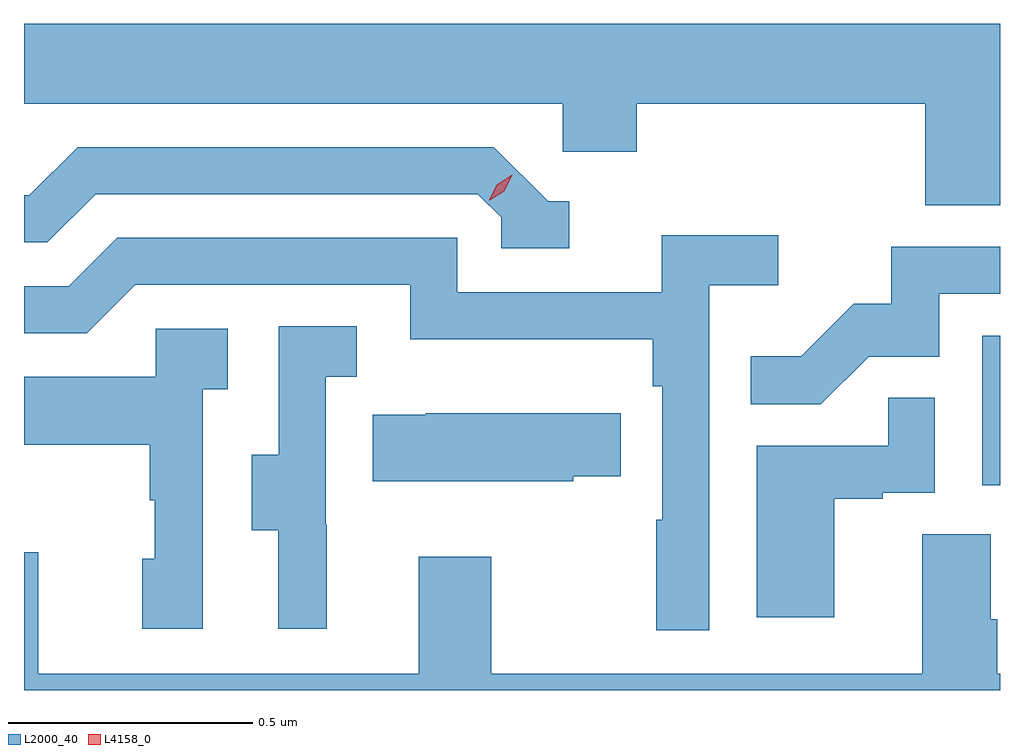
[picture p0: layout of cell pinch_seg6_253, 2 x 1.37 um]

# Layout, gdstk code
import gdstk
lib = gdstk.Library(unit=1e-6, precision=1e-09)
def R(c, l, rs):  # rectangles x0, y0, x1, y1
    for r in rs: c.add(gdstk.rectangle(r[:2], r[2:], *l))
def P(c, l, *ps):  # polygons
    for p in ps: c.add(gdstk.Polygon(p, *l))
L2000_40 = (2000, 40)
L4158_0 = (4158, 0)

pinch_seg6_253 = lib.new_cell('pinch_seg6_253')
R(pinch_seg6_253, L2000_40, [(1135.502,918.582,1135.538,918.889)])
P(pinch_seg6_253, L2000_40, [(1135.538,919.528),(1133.538,919.528),(1133.538,919.364),(1134.642,919.364),(1134.642,919.266),(1134.794,919.266),(1134.794,919.364),(1135.385,919.364),(1135.385,919.156),(1135.538,919.156)],
  [(1134.655,919.164),(1134.612,919.164),(1134.501,919.275),(1133.648,919.275),(1133.549,919.176),(1133.538,919.176),(1133.538,919.08),(1133.586,919.08),(1133.685,919.179),(1134.468,919.179),(1134.516,919.131),(1134.516,919.068),(1134.655,919.068)],
  [(1134.942,918.992),(1135.084,918.992),(1135.084,919.094),(1134.845,919.094),(1134.845,918.978),(1134.426,918.978),(1134.426,919.089),(1133.729,919.089),(1133.63,918.99),(1133.538,918.99),(1133.538,918.894),(1133.667,918.894),(1133.766,918.993),(1134.33,918.993),(1134.33,918.881),(1134.826,918.881),(1134.826,918.785),(1134.846,918.785),(1134.846,918.512),(1134.834,918.512),(1134.834,918.285),(1134.942,918.285)],
  [(1135.269,918.846),(1135.413,918.846),(1135.413,918.975),(1135.538,918.975),(1135.538,919.071),(1135.315,919.071),(1135.315,918.954),(1135.238,918.954),(1135.131,918.847),(1135.027,918.847),(1135.027,918.748),(1135.171,918.748)],
  [(1134.158,918.501),(1134.156,918.501),(1134.156,918.805),(1134.22,918.805),(1134.22,918.908),(1134.06,918.908),(1134.06,918.645),(1134.005,918.645),(1134.005,918.49),(1134.059,918.49),(1134.059,918.288),(1134.158,918.288)],
  [(1133.904,918.779),(1133.956,918.779),(1133.956,918.903),(1133.808,918.903),(1133.808,918.805),(1133.538,918.805),(1133.538,918.665),(1133.796,918.665),(1133.796,918.551),(1133.806,918.551),(1133.806,918.432),(1133.78,918.432),(1133.78,918.288),(1133.904,918.288)],
  [(1135.198,918.555),(1135.298,918.555),(1135.298,918.567),(1135.404,918.567),(1135.404,918.761),(1135.309,918.761),(1135.309,918.663),(1135.04,918.663),(1135.04,918.312),(1135.198,918.312)],
  [(1134.663,918.601),(1134.761,918.601),(1134.761,918.73),(1134.361,918.73),(1134.361,918.727),(1134.253,918.727),(1134.253,918.59),(1134.663,918.59)],
  [(1135.538,918.196),(1135.532,918.196),(1135.532,918.308),(1135.519,918.308),(1135.519,918.482),(1135.379,918.482),(1135.379,918.196),(1134.495,918.196),(1134.495,918.436),(1134.347,918.436),(1134.347,918.196),(1133.567,918.196),(1133.567,918.445),(1133.538,918.445),(1133.538,918.162),(1135.538,918.162)])
P(pinch_seg6_253, L4158_0, [(1134.491,919.166),(1134.491,919.166),(1134.507,919.198),(1134.538,919.218),(1134.538,919.218),(1134.538,919.218),(1134.522,919.185),(1134.492,919.166)])

lib.write_gds('pinch_seg6_253.gds')
